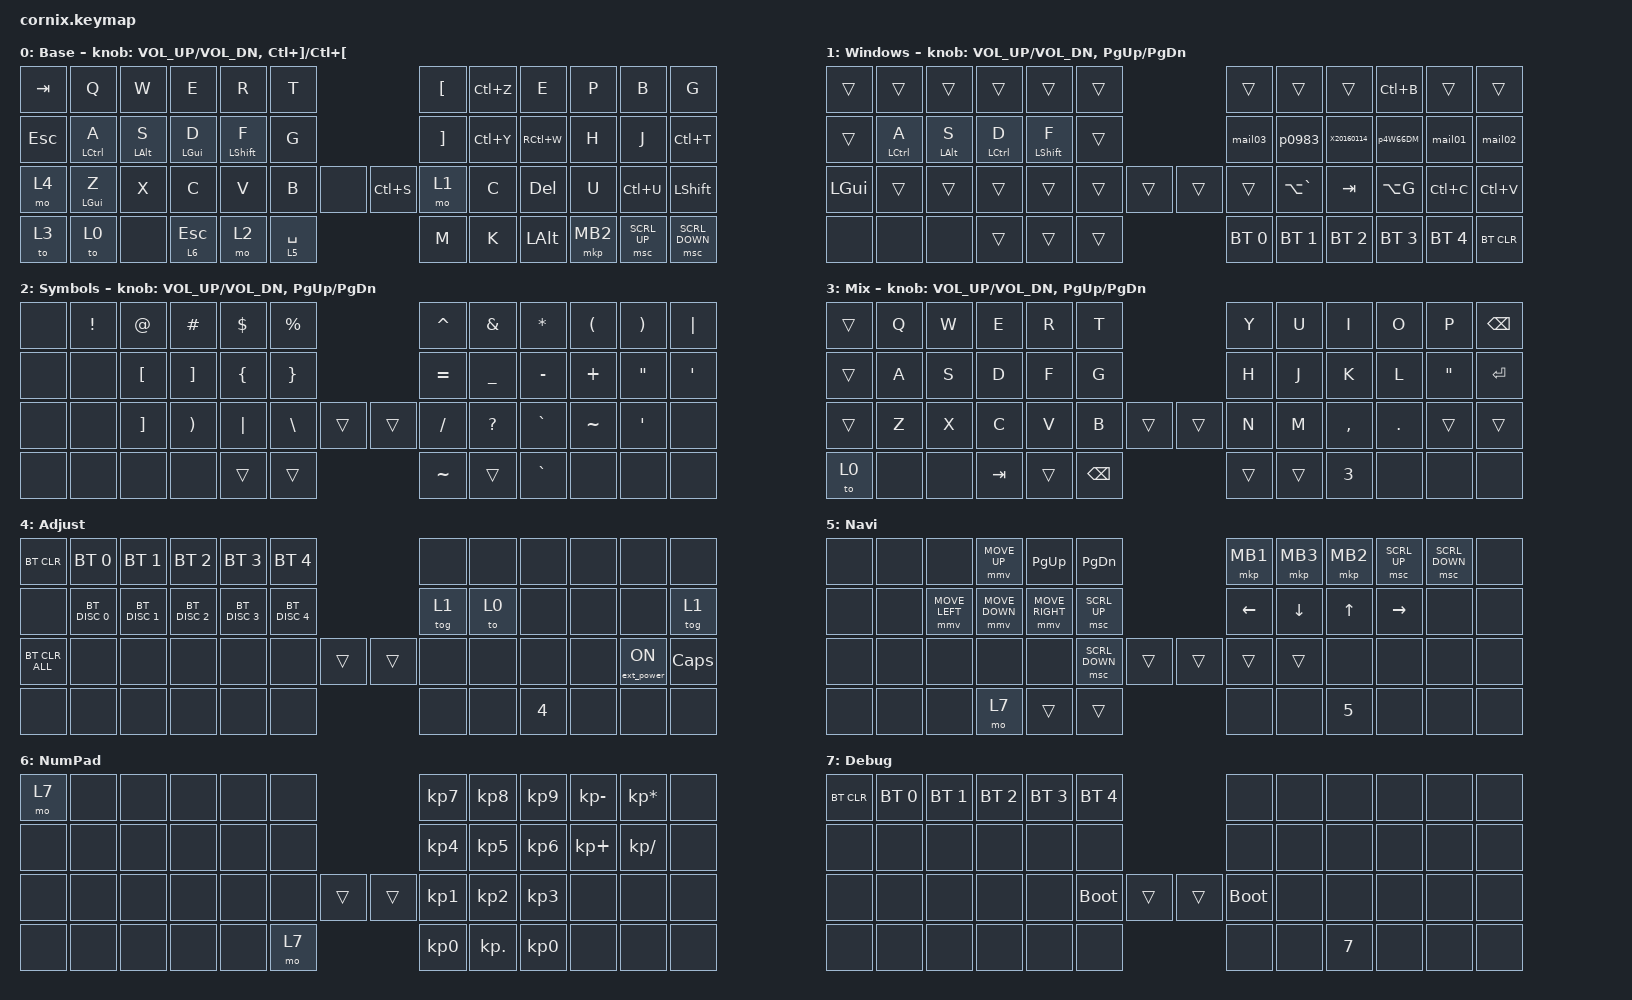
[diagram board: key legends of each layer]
/*
 * Copyright (c) 2020 The ZMK Contributors
 *
 * SPDX-License-Identifier: MIT
 */

#include "zmk-helpers/helper.h"
#include "includes/cornix54.h"

// tap windows for ctl alt and gui

#define HM_TAPPING_TERM 250
#define HM_TAPPING_REPEAT 210

// quick tapping for shift

#define HM_TAPPING_TERM_FAST 200
#define HM_PRIOR_IDLE 70
#define BASE 0
#define WIN 1
#define LOWER 2
#define RAISE 3
#define ADJUST 4
#define NAVI   5
#define NUM    6
#define DEBUG  7

// https://github.com/urob/zmk-config/tree/main#timeless-homerow-mods

#define KEYS_L LT0 LT1 LT2 LT3 LT4 LT5 LM0 LM1 LM2 LM3 LM4 LM5 LB0 LB1 LB2 LB3 LB4 LB5  // left hand
#define KEYS_R RT0 RT1 RT2 RT3 RT4 RT5 RM0 RM1 RM2 RM3 RM4 RM5 RB0 RB1 RB2 RB3 RB4 RB5  // right hand
#define THUMBS LH1 LH0 RH0 RH1
#define KEYS_T LH1 LH0 RH0 RH1
#define ZMK_POINTING_DEFAULT_SCRL_VAL 15

#include <behaviors.dtsi>
#include <dt-bindings/zmk/bt.h>
#include <dt-bindings/zmk/ext_power.h>
#include <dt-bindings/zmk/keys.h>
#include <dt-bindings/zmk/pointing.h>

/ {
    // Activate ADJUST layer by pressing raise and lower

    behaviors {
        hm_l: homerow_mods_left {
            compatible = "zmk,behavior-hold-tap";
            #binding-cells = <2>;
            bindings = <&kp>, <&kp>;

            flavor = "balanced";
            tapping-term-ms = <HM_TAPPING_TERM>;
            quick-tap-ms = <200>;                // repeat on tap-into-hold
            require-prior-idle-ms = <HM_PRIOR_IDLE>;
            hold-trigger-key-positions = <KEYS_R KEYS_T>;
            hold-trigger-on-release;
        };

        hm_r: homerow_mods_right {
            compatible = "zmk,behavior-hold-tap";
            #binding-cells = <2>;
            bindings = <&kp>, <&kp>;

            flavor = "balanced";
            tapping-term-ms = <HM_TAPPING_TERM>;
            quick-tap-ms = <200>;
            require-prior-idle-ms = <HM_PRIOR_IDLE>;
            hold-trigger-key-positions = <KEYS_L KEYS_T>;
            hold-trigger-on-release;
        };

        // Positional Homerow mods for shift
        // Use faster tapping term and disable some features that may
        // cause false negatives.

        hm_shift_l: hm_shift_l {
            compatible = "zmk,behavior-hold-tap";
            #binding-cells = <2>;
            bindings = <&kp>, <&kp>;

            //flavor = "balanced";

            flavor = "balanced";
            tapping-term-ms = <HM_TAPPING_TERM_FAST>;
            quick-tap-ms = <200>;
            require-prior-idle-ms = <HM_PRIOR_IDLE>;
            hold-trigger-key-positions = <KEYS_R KEYS_T>;
            hold-trigger-on-release;
        };

        hm_shift_r: hm_shift_r {
            compatible = "zmk,behavior-hold-tap";
            #binding-cells = <2>;
            bindings = <&kp>, <&kp>;

            flavor = "balanced";
            tapping-term-ms = <HM_TAPPING_TERM_FAST>;
            quick-tap-ms = <200>;
            require-prior-idle-ms = <HM_PRIOR_IDLE>;
            hold-trigger-key-positions = <KEYS_L KEYS_T>;

            // for quick tapping; shift+~

            hold-trigger-on-release;
        };

        /*
         * Non-Positional Homerow Mods
         * Used for &mm_grescm_gui behavior on left hand.
         *
         * Usage: &hm LSHFT T
         * Tap: T
         * Tap-Tap-Hold: Repeat T
         * Hold: LSHIFT
         */

        hm: homerow_mods {
            compatible = "zmk,behavior-hold-tap";
            #binding-cells = <2>;
            bindings = <&kp>, <&kp>;

            flavor = "balanced";
            tapping-term-ms = <HM_TAPPING_TERM>;
            quick-tap-ms = <200>;
        };

        lt: layer_tap {
            compatible = "zmk,behavior-hold-tap";
            #binding-cells = <2>;
            bindings = <&mo>, <&kp>;

            flavor = "hold-preferred";
            tapping-term-ms = <HM_TAPPING_TERM>;
            quick-tap-ms = <200>;
        };
    };

    conditional_layers {
        compatible = "zmk,conditional-layers";

        adjust_layer {
            if-layers = <3 2>;
            then-layer = <4>;
        };
    };

    combos {
        compatible = "zmk,combos";

        cb_ltm {
            bindings = <&kp ESC>;
            key-positions = <2 4>;
            layers = <0 1>;
        };

        cb_lm {
            bindings = <&kp TAB>;
            key-positions = <14 16>;
            layers = <0 1>;
        };

        cb_enter {
            bindings = <&kp RET>;
            key-positions = <21 19>;
            layers = <0 1>;
        };

        layer3 {
            bindings = <&kp N3>;
            key-positions = <5 6>;
        };

        layer4 {
            bindings = <&kp N4>;
            key-positions = <5 6>;
        };
    };

    macros {
        p0983: p0983 {
            compatible = "zmk,behavior-macro";
            #binding-cells = <0>;
            bindings = <&kp N0 &kp N9 &kp N8 &kp N3>;
            label = "P0983";
        };

        X20160114: X20160114 {
            compatible = "zmk,behavior-macro";
            #binding-cells = <0>;
            bindings = <&none &kp LS(X) &kp N2 &kp N0 &kp N1 &kp N6 &kp N0 &kp N1 &kp N1 &kp N4>;
            label = "X20160114";
        };

        p4W66DM: p4W66DM {
            compatible = "zmk,behavior-macro";
            #binding-cells = <0>;
            bindings = <&none &kp N4 &kp LS(W) &kp N6 &kp N6 &kp LS(D) &kp LS(M)>;
            label = "P4W66DM";
        };

        mail01: mail01 {
            compatible = "zmk,behavior-macro";
            #binding-cells = <0>;
            bindings = <&none &kp C &kp C &kp H &kp A &kp N &kp G &kp N1 &kp N4 &kp AT &kp S &kp T &kp U &kp D &kp E &kp N &kp T &kp DOT &kp O &kp T &kp I &kp S &kp DOT &kp E &kp D &kp U>;
            label = "MAIL01";
        };

        mail02: mail02 {
            compatible = "zmk,behavior-macro";
            #binding-cells = <0>;
            bindings = <&none &kp N &kp E &kp K &kp O &kp N0 &kp N2 &kp N0 &kp N1 &kp N1 &kp N3 &kp DOT &kp S &kp A &kp R &kp A &kp AT &kp G &kp M &kp A &kp I &kp L &kp DOT &kp C &kp O &kp M>;
            label = "MAIL02";
        };

        mail03: mail03 {
            compatible = "zmk,behavior-macro";
            #binding-cells = <0>;
            bindings = <&none &kp J &kp I &kp M &kp DOT &kp C &kp H &kp A &kp N &kp G &kp N9 &kp N1 &kp N0 &kp N1 &kp N1 &kp N3 &kp AT &kp G &kp M &kp A &kp I &kp L &kp DOT &kp C &kp O &kp M>;
            label = "MAIL03";
        };
    };

    keymap {
        compatible = "zmk,keymap";

        default_layer {
            display-name = "Base";

            // ------------------------------------------------------------------------------------------------------------
            // |   `   |  1  |  2  |  3   |  4   |  5   |                   |  6   |  7    |  8    |  9   |   0   |       |
            // |  ESC  |  Q  |  W  |  E   |  R   |  T   |                   |  Y   |  U    |  I    |  O   |   P   | BKSPC |
            // |  TAB  |  A  |  S  |  D   |  F   |  G   |                   |  H   |  J    |  K    |  L   |   ;   |   '   |
            // | SHIFT |  Z  |  X  |  C   |  V   |  B   |  MUTE  |  |       |  N   |  M    |  ,    |  .   |   /   | SHIFT |
            //               | GUI | ALT  | CTRL | LOWER|  ENTER |  | SPACE | RAISE| CTRL  | ALT   | GUI  |

            bindings = <
&kp TAB  &kp Q          &kp W         &kp E         &kp R                &kp T                          &kp LEFT_BRACKET   &kp LC(Z)  &kp E         &kp P     &kp B         &kp G
&kp ESC  &hm_l LCTRL A  &hm_l LALT S  &hm_l LGUI D  &hm_shift_l LSHFT F  &kp G                          &kp RIGHT_BRACKET  &kp LC(Y)  &kp RC(W)     &kp H     &kp J         &kp LC(T)
&mo 4    &hm_l LGUI Z   &kp X         &kp C         &kp V                &kp B        &none  &kp LC(S)  &mo 1              &kp C      &kp DELETE    &kp U     &kp LC(U)     &kp LSHIFT
&to 3    &to 0          &none         &lt 6 ESCAPE  &mo 2                &lt 5 SPACE                    &kp M              &kp K      &kp LEFT_ALT  &mkp MB2  &msc SCRL_UP  &msc SCRL_DOWN
            >;

            sensor-bindings =
                <&inc_dec_kp C_VOL_UP C_VOL_DN>,
                <&inc_dec_kp LC(RIGHT_BRACKET) LC(LEFT_BRACKET)>;
        };

        win_layer {
            display-name = "Windows";

            // ------------------------------------------------------------------------------------------------------------
            // |   `   |  1  |  2  |  3   |  4   |  5   |                   |  6   |  7    |  8    |  9   |   0   |       |
            // |  ESC  |  Q  |  W  |  E   |  R   |  T   |                   |  Y   |  U    |  I    |  O   |   P   | BKSPC |
            // |  TAB  |  A  |  S  |  D   |  F   |  G   |                   |  H   |  J    |  K    |  L   |   ;   |   '   |
            // | SHIFT |  Z  |  X  |  C   |  V   |  B   |  MUTE  |  |       |  N   |  M    |  ,    |  .   |   /   | SHIFT |
            //               | GUI | ALT  | CTRL | LOWER|  ENTER |  | SPACE | RAISE| CTRL  | ALT   | GUI  |

            bindings = <
&trans    &trans         &trans        &trans         &trans               &trans                  &trans        &trans         &trans        &kp LC(B)     &trans        &trans
&trans    &hm_l LCTRL A  &hm_l LALT S  &hm_l LCTRL D  &hm_shift_l LSHFT F  &trans                  &mail03       &p0983         &X20160114    &p4W66DM      &mail01       &mail02
&kp LGUI  &trans         &trans        &trans         &trans               &trans  &trans  &trans  &trans        &kp LA(GRAVE)  &kp TAB       &kp LA(G)     &kp LC(C)     &kp LC(V)
&none     &none          &none         &trans         &trans               &trans                  &bt BT_SEL 0  &bt BT_SEL 1   &bt BT_SEL 2  &bt BT_SEL 3  &bt BT_SEL 4  &bt BT_CLR
            >;

            sensor-bindings = <&inc_dec_kp C_VOL_UP C_VOL_DN &inc_dec_kp PG_UP PG_DN>;
        };

        Symbol_layer {
            display-name = "Symbols";

            // TODO: Some binds are waiting for shifted keycode support.
            // -------------------------------
            // |       |  F1 |  F2 |  F3  |  F4  |  F5  |                   |  F6  |  F7   |  F8   |  F9  |  F10  |  F11  |
            // |   `   |  1  |  2  |  3   |  4   |  5   |                   |  6   |  7    |  8    |  9   |   0   |  F12  |
            // |       |  !  |  @  |  #   |  $   |  %   |                   |  ^   |  &    |  *    |  (   |   )   |   |   |
            // |       |  =  |  -  |  +   |  {   |  }   |        |  |       |  [   |  ]    |  ;    |  :   |   \   |       |
            //               |     |      |      |      |        |  |       |      |       |       |      |

            bindings = <
&none  &kp EXCL  &kp AT    &kp HASH  &kp DLLR  &kp PRCNT                  &kp CARET  &kp AMPS      &kp ASTRK  &kp LPAR   &kp RPAR  &kp PIPE
&none  &none     &kp LBKT  &kp RBKT  &kp LBRC  &kp RBRC                   &kp EQUAL  &kp UNDER     &kp MINUS  &kp PLUS   &kp DQT   &kp SQT
&none  &none     &kp RBKT  &kp RPAR  &kp PIPE  &kp BSLH   &trans  &trans  &kp FSLH   &kp QUESTION  &kp GRAVE  &kp TILDE  &kp SQT   &none
&none  &none     &none     &none     &trans    &trans                     &kp TILDE  &trans        &kp GRAVE  &none      &none     &none
            >;

            sensor-bindings = <&inc_dec_kp C_VOL_UP C_VOL_DN &inc_dec_kp PG_UP PG_DN>;
        };

        Mix_layer {
            display-name = "Mix";

            // ------------------------------------------------------------------------------------------------------------
            // | BTCLR | BT1  | BT2  |  BT3  |  BT4  |  BT5 |                |      |      |       |      |       |       |
            // |       | INS  | PSCR | GUI   |       |      |                | PGUP |      |   ^   |      |       |       |
            // |       | ALT  | CTRL | SHIFT |       | CAPS |                | PGDN |   <- |   v   |  ->  |  DEL  | BKSPC |
            // |       | UNDO | CUT  | COPY  | PASTE |      |      |  |      |      |      |       |      |       |       |
            //                |      |       |       |      |      |  |      |      |      |       |      |

            bindings = <
&trans  &kp Q  &kp W  &kp E    &kp R   &kp T                          &kp Y   &kp U   &kp I      &kp O       &kp P    &kp BACKSPACE
&trans  &kp A  &kp S  &kp D    &kp F   &kp G                          &kp H   &kp J   &kp K      &kp L       &kp DQT  &kp ENTER
&trans  &kp Z  &kp X  &kp C    &kp V   &kp B          &trans  &trans  &kp N   &kp M   &kp COMMA  &kp PERIOD  &trans   &trans
&to 0   &none  &none  &kp TAB  &trans  &kp BACKSPACE                  &trans  &trans  &kp N3     &none       &none    &none
            >;

            sensor-bindings = <&inc_dec_kp C_VOL_UP C_VOL_DN &inc_dec_kp PG_UP PG_DN>;
        };

        Adjust_layer {
            display-name = "Adjust";

            // ----------------------------------------------------------------------------------------------------------------------------
            // | BTCLR  |  BT1    |  BT2    |   BT3   |   BT4   |   BT5   |                  |      |      |       |      |       |       |
            // | moDEBUG| RGB_HUD | RGB_HUI | RGB_SAD | RGB_SAI | RGB_EFF |                  |      |      |       |      |       |       |
            // | EXTPWR | RGB_BRD | RGB_BRI |         |         |         |                  |      |      |       |      |       |       |
            // |        |         |         |         |         |         | RGB_TOG | |      |      |      |       |      |       |       |
            //                    |         |         |         |         |         | |      |      |      |       |      |

            bindings = <
&bt BT_CLR      &bt BT_SEL 0   &bt BT_SEL 1   &bt BT_SEL 2   &bt BT_SEL 3   &bt BT_SEL 4                   &none   &none  &none   &none  &none             &none
&none           &bt BT_DISC 0  &bt BT_DISC 1  &bt BT_DISC 2  &bt BT_DISC 3  &bt BT_DISC 4                  &tog 1  &to 0  &none   &none  &none             &tog 1
&bt BT_CLR_ALL  &none          &none          &none          &none          &none          &trans  &trans  &none   &none  &none   &none  &ext_power EP_ON  &kp CAPSLOCK
&none           &none          &none          &none          &none          &none                          &none   &none  &kp N4  &none  &none             &none
            >;
        };

        Navi_layer {
            display-name = "Navi";
            bindings = <
&none  &none  &none           &mmv MOVE_UP    &kp PAGE_UP      &kp PAGE_DOWN                   &mkp MB1  &mkp MB3  &mkp MB2  &msc SCRL_UP  &msc SCRL_DOWN  &none
&none  &none  &mmv MOVE_LEFT  &mmv MOVE_DOWN  &mmv MOVE_RIGHT  &msc SCRL_UP                    &kp LEFT  &kp DOWN  &kp UP    &kp RIGHT     &none           &none
&none  &none  &none           &none           &none            &msc SCRL_DOWN  &trans  &trans  &trans    &trans    &none     &none         &none           &none
&none  &none  &none           &mo 7           &trans           &trans                          &none     &none     &kp N5    &none         &none           &none
            >;
        };

        KeyPad_layer {
            display-name = "NumPad";
            bindings = <
&mo 7  &none  &none  &none  &none  &none                  &kp KP_N7        &kp KP_N8        &kp KP_N9        &kp KP_MINUS  &kp KP_MULTIPLY  &none
&none  &none  &none  &none  &none  &none                  &kp KP_NUMBER_4  &kp KP_NUMBER_5  &kp KP_N6        &kp KP_PLUS   &kp KP_DIVIDE    &none
&none  &none  &none  &none  &none  &none  &trans  &trans  &kp KP_NUMBER_1  &kp KP_NUMBER_2  &kp KP_N3        &none         &none            &none
&none  &none  &none  &none  &none  &mo 7                  &kp KP_N0        &kp KP_DOT       &kp KP_NUMBER_0  &none         &none            &none
            >;
        };

        Debug_layer {
            display-name = "Debug";

            // ----------------------------------------------------------------------------------------------------------------------------
            // | BTCLR  |  BT1    |  BT2    |   BT3   |   BT4   |   BT5   |                  |      |      |       |      |       |       |
            // | EXTPWR | BTCLR | RGB_HUI | RGB_SAD | RGB_SAI | RGB_EFF |                  |      |      |       |      |       |       |
            // |        | RGB_BRD | RGB_BRI |         |         |         |                  |      |      |       |      |       |       |
            // |        |         |         |         |         |         | RGB_TOG | |      |      |      |       |      |       |       |
            //                    |         |         |         |         |         | |      |      |      |       |      |

            bindings = <
&bt BT_CLR  &bt BT_SEL 0  &bt BT_SEL 1  &bt BT_SEL 2  &bt BT_SEL 3  &bt BT_SEL 4                  &none        &none  &none   &none  &none  &none
&none       &none         &none         &none         &none         &none                         &none        &none  &none   &none  &none  &none
&none       &none         &none         &none         &none         &bootloader   &trans  &trans  &bootloader  &none  &none   &none  &none  &none
&none       &none         &none         &none         &none         &none                         &none        &none  &kp N7  &none  &none  &none
            >;
        };
    };
};
